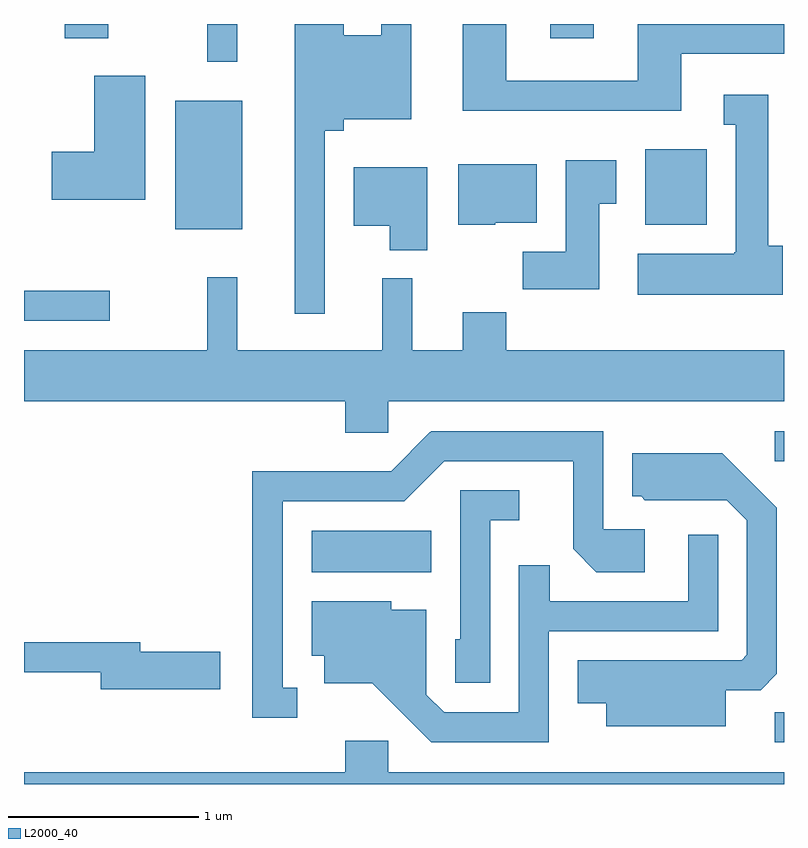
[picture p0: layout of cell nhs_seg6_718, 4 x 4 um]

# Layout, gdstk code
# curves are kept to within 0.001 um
import gdstk
lib = gdstk.Library(unit=1e-6, precision=1e-09)
def R(c, l, rs):  # rectangles x0, y0, x1, y1
    for r in rs: c.add(gdstk.rectangle(r[:2], r[2:], *l))
def P(c, l, *ps):  # polygons
    for p in ps: c.add(gdstk.Polygon(p, *l))
L2000_40 = (2000, 40)

nhs_seg6_718 = lib.new_cell('nhs_seg6_718')
R(nhs_seg6_718, L2000_40, [(209.563,1630.381,209.611,1630.539), (207.126,1631.276,207.754,1631.494), (209.563,1631.861,209.611,1632.019), (205.611,1632.601,206.063,1632.759), (206.406,1633.081,206.759,1633.759), (208.881,1633.106,209.204,1633.504), (206.576,1633.963,206.734,1634.162), (205.826,1634.086,206.054,1634.162), (208.381,1634.086,208.609,1634.162)])
P(nhs_seg6_718, L2000_40, [(209.069,1634.006),(209.611,1634.006),(209.611,1634.162),(208.841,1634.162),(208.841,1633.864),(208.149,1633.864),(208.149,1634.162),(207.921,1634.162),(207.921,1633.706),(209.069,1633.706)],
  [(207.194,1633.601),(207.294,1633.601),(207.294,1633.661),(207.649,1633.661),(207.649,1634.162),(207.491,1634.162),(207.491,1634.104),(207.294,1634.104),(207.294,1634.162),(207.036,1634.162),(207.036,1632.638),(207.194,1632.638)],
  [(206.249,1633.889),(205.981,1633.889),(205.981,1633.489),(205.756,1633.489),(205.756,1633.236),(206.249,1633.236)],
  [(209.604,1632.994),(209.529,1632.994),(209.529,1633.789),(209.293,1633.789),(209.293,1633.631),(209.356,1633.631),(209.356,1632.96),(209.35,1632.96),(209.35,1632.954),(208.841,1632.954),(208.841,1632.736),(209.604,1632.736)],
  [(208.639,1633.216),(208.729,1633.216),(208.729,1633.444),(208.461,1633.444),(208.461,1632.964),(208.236,1632.964),(208.236,1632.766),(208.639,1632.766)],
  [(208.09,1633.116),(208.309,1633.116),(208.309,1633.424),(207.896,1633.424),(207.896,1633.106),(208.09,1633.106)],
  [(207.734,1633.409),(207.346,1633.409),(207.346,1633.101),(207.536,1633.101),(207.536,1632.971),(207.734,1632.971)],
  [(207.529,1632.176),(209.611,1632.176),(209.611,1632.444),(208.149,1632.444),(208.149,1632.644),(207.921,1632.644),(207.921,1632.444),(207.654,1632.444),(207.654,1632.823),(207.496,1632.823),(207.496,1632.444),(206.734,1632.444),(206.734,1632.828),(206.576,1632.828),(206.576,1632.444),(205.611,1632.444),(205.611,1632.176),(207.301,1632.176),(207.301,1632.011),(207.529,1632.011)],
  [(207.048,1630.669),(206.974,1630.669),(206.974,1631.651),(207.612,1631.651),(207.822,1631.861),(208.501,1631.861),(208.501,1631.399),(208.624,1631.276),(208.879,1631.276),(208.879,1631.504),(208.659,1631.504),(208.659,1632.019),(207.754,1632.019),(207.544,1631.809),(206.811,1631.809),(206.811,1630.511),(207.048,1630.511)],
  [(209.304,1630.656),(209.489,1630.656),(209.574,1630.742),(209.574,1631.617),(209.287,1631.904),(208.811,1631.904),(208.811,1631.676),(208.859,1631.676),(208.879,1631.656),(209.309,1631.656),(209.416,1631.549),(209.416,1630.842),(209.389,1630.814),(208.526,1630.814),(208.526,1630.586),(208.676,1630.586),(208.676,1630.466),(209.304,1630.466)],
  [(208.064,1631.551),(208.218,1631.551),(208.218,1631.709),(207.906,1631.709),(207.906,1630.924),(207.881,1630.924),(207.881,1630.696),(208.064,1630.696)],
  [(208.374,1630.966),(209.264,1630.966),(209.264,1631.473),(209.106,1631.473),(209.106,1631.124),(208.379,1631.124),(208.379,1631.313),(208.216,1631.313),(208.216,1630.539),(207.822,1630.539),(207.729,1630.632),(207.729,1631.079),(207.544,1631.079),(207.544,1631.124),(207.126,1631.124),(207.126,1630.836),(207.191,1630.836),(207.191,1630.691),(207.444,1630.691),(207.754,1630.381),(208.374,1630.381)],
  [(206.644,1630.859),(206.224,1630.859),(206.224,1630.909),(205.611,1630.909),(205.611,1630.751),(206.016,1630.751),(206.016,1630.661),(206.644,1630.661)],
  [(209.611,1630.224),(207.529,1630.224),(207.529,1630.389),(207.301,1630.389),(207.301,1630.224),(205.611,1630.224),(205.611,1630.162),(209.611,1630.162)])

lib.write_gds('nhs_seg6_718.gds')
